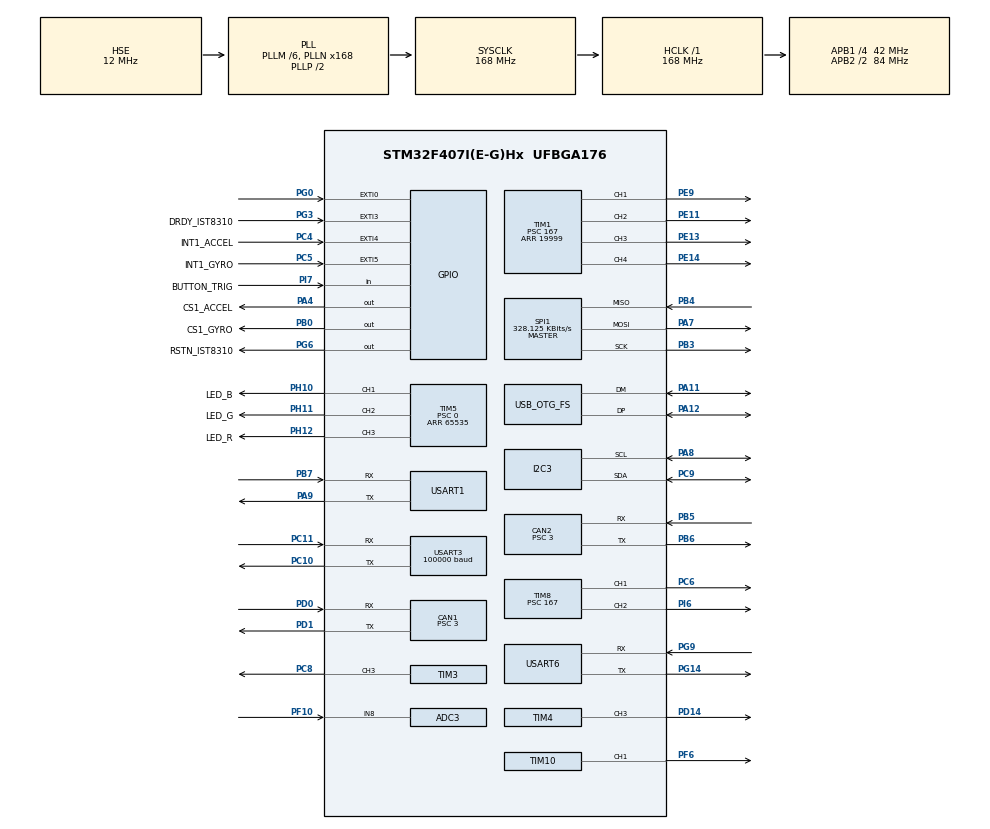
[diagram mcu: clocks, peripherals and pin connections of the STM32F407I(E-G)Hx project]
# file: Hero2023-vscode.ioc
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ADC1.Channel-0\#ChannelRegularConversion=ADC_CHANNEL_TEMPSENSOR
ADC1.NbrOfConversionFlag=1
ADC1.Rank-0\#ChannelRegularConversion=1
ADC1.SamplingTime-0\#ChannelRegularConversion=ADC_SAMPLETIME_3CYCLES
ADC1.master=1
ADC3.Channel-0\#ChannelRegularConversion=ADC_CHANNEL_8
ADC3.NbrOfConversionFlag=1
ADC3.Rank-0\#ChannelRegularConversion=1
ADC3.SamplingTime-0\#ChannelRegularConversion=ADC_SAMPLETIME_3CYCLES
CAN1.ABOM=ENABLE
CAN1.BS1=CAN_BS1_10TQ
CAN1.BS2=CAN_BS2_3TQ
CAN1.CalculateBaudRate=1000000
CAN1.CalculateTimeBit=1000
CAN1.CalculateTimeQuantum=71.42857142857143
CAN1.Prescaler=3
CAN2.ABOM=ENABLE
CAN2.BS1=CAN_BS1_10TQ
CAN2.BS2=CAN_BS2_3TQ
CAN2.CalculateBaudRate=1000000
CAN2.CalculateTimeBit=1000
CAN2.CalculateTimeQuantum=71.42857142857143
CAN2.Prescaler=3
Dma.Request0=SPI1_RX
Dma.Request1=SPI1_TX
Dma.Request2=USART3_RX
Dma.Request3=USART6_RX
Dma.Request4=USART1_RX
Dma.SPI1_RX.0.Direction=DMA_PERIPH_TO_MEMORY
Dma.SPI1_RX.0.FIFOMode=DMA_FIFOMODE_DISABLE
Dma.SPI1_RX.0.Instance=DMA2_Stream2
Dma.SPI1_RX.0.MemDataAlignment=DMA_MDATAALIGN_BYTE
Dma.SPI1_RX.0.MemInc=DMA_MINC_ENABLE
Dma.SPI1_RX.0.Mode=DMA_NORMAL
Dma.SPI1_RX.0.PeriphDataAlignment=DMA_PDATAALIGN_BYTE
Dma.SPI1_RX.0.PeriphInc=DMA_PINC_DISABLE
Dma.SPI1_RX.0.Priority=DMA_PRIORITY_VERY_HIGH
Dma.SPI1_TX.1.Direction=DMA_MEMORY_TO_PERIPH
Dma.SPI1_TX.1.FIFOMode=DMA_FIFOMODE_DISABLE
Dma.SPI1_TX.1.Instance=DMA2_Stream3
Dma.SPI1_TX.1.MemDataAlignment=DMA_MDATAALIGN_BYTE
Dma.SPI1_TX.1.MemInc=DMA_MINC_ENABLE
Dma.SPI1_TX.1.Mode=DMA_NORMAL
Dma.SPI1_TX.1.PeriphDataAlignment=DMA_PDATAALIGN_BYTE
Dma.SPI1_TX.1.PeriphInc=DMA_PINC_DISABLE
Dma.SPI1_TX.1.Priority=DMA_PRIORITY_HIGH
Dma.USART1_RX.4.Direction=DMA_PERIPH_TO_MEMORY
Dma.USART1_RX.4.FIFOMode=DMA_FIFOMODE_DISABLE
Dma.USART1_RX.4.Instance=DMA2_Stream5
Dma.USART1_RX.4.MemDataAlignment=DMA_MDATAALIGN_BYTE
Dma.USART1_RX.4.MemInc=DMA_MINC_ENABLE
Dma.USART1_RX.4.Mode=DMA_CIRCULAR
Dma.USART1_RX.4.PeriphDataAlignment=DMA_PDATAALIGN_BYTE
Dma.USART1_RX.4.PeriphInc=DMA_PINC_DISABLE
Dma.USART1_RX.4.Priority=DMA_PRIORITY_HIGH
Dma.USART3_RX.2.Direction=DMA_PERIPH_TO_MEMORY
Dma.USART3_RX.2.FIFOMode=DMA_FIFOMODE_DISABLE
Dma.USART3_RX.2.Instance=DMA1_Stream1
Dma.USART3_RX.2.MemDataAlignment=DMA_MDATAALIGN_BYTE
Dma.USART3_RX.2.MemInc=DMA_MINC_ENABLE
Dma.USART3_RX.2.Mode=DMA_NORMAL
Dma.USART3_RX.2.PeriphDataAlignment=DMA_PDATAALIGN_BYTE
Dma.USART3_RX.2.PeriphInc=DMA_PINC_DISABLE
Dma.USART3_RX.2.Priority=DMA_PRIORITY_HIGH
Dma.USART6_RX.3.Direction=DMA_PERIPH_TO_MEMORY
Dma.USART6_RX.3.FIFOMode=DMA_FIFOMODE_DISABLE
Dma.USART6_RX.3.Instance=DMA2_Stream1
Dma.USART6_RX.3.MemDataAlignment=DMA_MDATAALIGN_BYTE
Dma.USART6_RX.3.MemInc=DMA_MINC_ENABLE
Dma.USART6_RX.3.Mode=DMA_NORMAL
Dma.USART6_RX.3.PeriphDataAlignment=DMA_PDATAALIGN_BYTE
Dma.USART6_RX.3.PeriphInc=DMA_PINC_DISABLE
Dma.USART6_RX.3.Priority=DMA_PRIORITY_HIGH
FREERTOS.INCLUDE_eTaskGetState=1
FREERTOS.INCLUDE_pcTaskGetTaskName=1
FREERTOS.INCLUDE_uxTaskGetStackHighWaterMark=1
FREERTOS.INCLUDE_vTaskCleanUpResources=1
FREERTOS.INCLUDE_vTaskDelayUntil=1
FREERTOS.INCLUDE_xEventGroupSetBitFromISR=1
FREERTOS.INCLUDE_xQueueGetMutexHolder=1
FREERTOS.INCLUDE_xSemaphoreGetMutexHolder=1
FREERTOS.INCLUDE_xTaskAbortDelay=1
FREERTOS.INCLUDE_xTaskGetCurrentTaskHandle=1
FREERTOS.INCLUDE_xTaskGetHandle=1
FREERTOS.INCLUDE_xTimerPendFunctionCall=1
FREERTOS.Tasks01=idle,-3,128,idle_task,As weak,NULL,Dynamic,NULL,NULL
FREERTOS.configRECORD_STACK_HIGH_ADDRESS=1
FREERTOS.configTOTAL_HEAP_SIZE=24576
I2C3.I2C_Mode=I2C_Fast
Mcu.Family=STM32F4
Mcu.Name=STM32F407I(E-G)Hx
Mcu.Package=UFBGA176
NVIC.CAN1_RX0_IRQn=true\:6\:0\:true\:false\:true\:true\:true\:true
NVIC.CAN1_TX_IRQn=true\:5\:0\:false\:false\:true\:true\:true\:true
NVIC.CAN2_RX0_IRQn=true\:6\:0\:true\:false\:true\:true\:true\:true
NVIC.CAN2_TX_IRQn=true\:5\:0\:false\:false\:true\:true\:true\:true
NVIC.DMA1_Stream1_IRQn=true\:5\:0\:true\:false\:true\:true\:false\:false
NVIC.DMA2_Stream1_IRQn=true\:5\:0\:false\:false\:true\:true\:false\:true
NVIC.DMA2_Stream2_IRQn=true\:5\:0\:true\:false\:false\:true\:false\:true
NVIC.DMA2_Stream3_IRQn=true\:5\:0\:true\:false\:false\:true\:false\:true
NVIC.DMA2_Stream5_IRQn=true\:5\:0\:false\:false\:true\:true\:false\:true
NVIC.EXTI0_IRQn=true\:6\:0\:true\:false\:true\:true\:true\:true
NVIC.EXTI3_IRQn=true\:5\:0\:true\:false\:true\:true\:true\:true
NVIC.EXTI4_IRQn=true\:5\:0\:true\:false\:true\:true\:true\:true
NVIC.EXTI9_5_IRQn=true\:5\:0\:true\:false\:true\:true\:true\:true
NVIC.OTG_FS_IRQn=true\:5\:0\:false\:false\:true\:true\:false\:true
NVIC.PriorityGroup=NVIC_PRIORITYGROUP_4
NVIC.TIM6_DAC_IRQn=true\:0\:0\:false\:false\:true\:false\:false\:true
NVIC.TimeBase=TIM6_DAC_IRQn
NVIC.TimeBaseIP=TIM6
NVIC.USART1_IRQn=true\:5\:0\:false\:false\:true\:true\:true\:true
NVIC.USART3_IRQn=true\:5\:0\:true\:false\:false\:false\:true\:true
NVIC.USART6_IRQn=true\:5\:0\:false\:false\:true\:true\:true\:true
PA11.Mode=Device_Only
PA11.Signal=USB_OTG_FS_DM
PA12.Mode=Device_Only
PA12.Signal=USB_OTG_FS_DP
PA13.Mode=Serial_Wire
PA13.Signal=SYS_JTMS-SWDIO
PA14.Mode=Serial_Wire
PA14.Signal=SYS_JTCK-SWCLK
PA4.GPIO_Label=CS1_ACCEL
PA4.GPIO_PuPd=GPIO_PULLUP
PA4.GPIO_Speed=GPIO_SPEED_FREQ_HIGH
PA4.PinState=GPIO_PIN_SET
PA4.Signal=GPIO_Output
PA7.GPIO_PuPd=GPIO_PULLUP
PA7.Mode=Full_Duplex_Master
PA7.Signal=SPI1_MOSI
PA8.GPIO_Pu=GPIO_PULLUP
PA8.Mode=I2C
PA8.Signal=I2C3_SCL
PA9.Mode=Asynchronous
PA9.Signal=USART1_TX
PB0.GPIO_Label=CS1_GYRO
PB0.GPIO_PuPd=GPIO_PULLUP
PB0.GPIO_Speed=GPIO_SPEED_FREQ_HIGH
PB0.PinState=GPIO_PIN_SET
PB0.Signal=GPIO_Output
PB3.GPIO_PuPd=GPIO_PULLUP
PB3.Mode=Full_Duplex_Master
PB3.Signal=SPI1_SCK
PB4.GPIO_PuPd=GPIO_PULLUP
PB4.Mode=Full_Duplex_Master
PB4.Signal=SPI1_MISO
PB5.Mode=CAN_Activate
PB5.Signal=CAN2_RX
PB6.Mode=CAN_Activate
PB6.Signal=CAN2_TX
PB7.Mode=Asynchronous
PB7.Signal=USART1_RX
PC10.Mode=Asynchronous
PC10.Signal=USART3_TX
PC11.Mode=Asynchronous
PC11.Signal=USART3_RX
PC4.GPIO_Label=INT1_ACCEL
PC4.GPIO_ModeDefaultEXTI=GPIO_MODE_IT_FALLING
PC4.GPIO_PuPd=GPIO_PULLUP
PC4.Signal=GPXTI4
PC5.GPIO_Label=INT1_GYRO
PC5.GPIO_ModeDefaultEXTI=GPIO_MODE_IT_FALLING
PC5.GPIO_PuPd=GPIO_PULLUP
PC5.Signal=GPXTI5
PC6.GPIO_PuPd=GPIO_PULLUP
PC6.GPIO_Speed=GPIO_SPEED_FREQ_HIGH
PC6.Signal=S_TIM8_CH1
PC8.GPIO_PuPd=GPIO_PULLUP
PC8.GPIO_Speed=GPIO_SPEED_FREQ_HIGH
PC8.Signal=S_TIM3_CH3
PC9.GPIO_Pu=GPIO_PULLUP
PC9.Mode=I2C
PC9.Signal=I2C3_SDA
PD0.Mode=CAN_Activate
PD0.Signal=CAN1_RX
PD1.Mode=CAN_Activate
PD1.Signal=CAN1_TX
PD14.GPIO_Speed=GPIO_SPEED_FREQ_HIGH
PD14.Signal=S_TIM4_CH3
PE11.GPIO_PuPd=GPIO_PULLUP
PE11.GPIO_Speed=GPIO_SPEED_FREQ_HIGH
PE11.Signal=S_TIM1_CH2
PE13.GPIO_PuPd=GPIO_PULLUP
PE13.GPIO_Speed=GPIO_SPEED_FREQ_HIGH
PE13.Signal=S_TIM1_CH3
PE14.GPIO_PuPd=GPIO_PULLUP
PE14.GPIO_Speed=GPIO_SPEED_FREQ_HIGH
PE14.Signal=S_TIM1_CH4
PE9.GPIO_PuPd=GPIO_PULLUP
PE9.GPIO_Speed=GPIO_SPEED_FREQ_HIGH
PE9.Signal=S_TIM1_CH1
PF10.Mode=IN8
PF10.Signal=ADC3_IN8
PF6.GPIO_PuPd=GPIO_PULLUP
PF6.GPIO_Speed=GPIO_SPEED_FREQ_HIGH
PF6.Signal=S_TIM10_CH1
PG0.GPIO_ModeDefaultEXTI=GPIO_MODE_IT_FALLING
PG0.GPIO_PuPd=GPIO_PULLUP
PG0.Signal=GPXTI0
PG14.Mode=Asynchronous
PG14.Signal=USART6_TX
PG3.GPIO_Label=DRDY_IST8310
PG3.GPIO_ModeDefaultEXTI=GPIO_MODE_IT_FALLING
PG3.GPIO_PuPd=GPIO_PULLUP
PG3.Signal=GPXTI3
PG6.GPIO_Label=RSTN_IST8310
PG6.GPIO_PuPd=GPIO_PULLUP
PG6.GPIO_Speed=GPIO_SPEED_FREQ_MEDIUM
PG6.PinState=GPIO_PIN_SET
PG6.Signal=GPIO_Output
PG9.Mode=Asynchronous
PG9.Signal=USART6_RX
PH0-OSC_IN.Mode=HSE-External-Oscillator
PH0-OSC_IN.Signal=RCC_OSC_IN
PH1-OSC_OUT.Mode=HSE-External-Oscillator
PH1-OSC_OUT.Signal=RCC_OSC_OUT
PH10.GPIO_Label=LED_B
PH10.GPIO_PuPd=GPIO_PULLUP
PH10.GPIO_Speed=GPIO_SPEED_FREQ_HIGH
PH10.Signal=S_TIM5_CH1
PH11.GPIO_Label=LED_G
PH11.GPIO_PuPd=GPIO_PULLUP
PH11.GPIO_Speed=GPIO_SPEED_FREQ_HIGH
PH11.Signal=S_TIM5_CH2
PH12.GPIO_Label=LED_R
PH12.GPIO_PuPd=GPIO_PULLUP
PH12.GPIO_Speed=GPIO_SPEED_FREQ_HIGH
PH12.Signal=S_TIM5_CH3
PI6.GPIO_PuPd=GPIO_PULLUP
PI6.GPIO_Speed=GPIO_SPEED_FREQ_HIGH
PI6.Signal=S_TIM8_CH2
PI7.GPIO_Label=BUTTON_TRIG
PI7.GPIO_PuPd=GPIO_PULLUP
PI7.Signal=GPIO_Input
ProjectManager.HeapSize=0x2000
ProjectManager.StackSize=0x2000
ProjectManager.TargetToolchain=Makefile
RCC.48MHZClocksFreq_Value=48000000
RCC.AHBFreq_Value=168000000
RCC.APB1CLKDivider=RCC_HCLK_DIV4
RCC.APB1Freq_Value=42000000
RCC.APB1TimFreq_Value=84000000
RCC.APB2CLKDivider=RCC_HCLK_DIV2
RCC.APB2Freq_Value=84000000
RCC.APB2TimFreq_Value=168000000
RCC.CortexFreq_Value=168000000
RCC.HCLKFreq_Value=168000000
RCC.HSE_VALUE=12000000
RCC.HSI_VALUE=16000000
RCC.LSE_VALUE=32768
RCC.PLLM=6
RCC.PLLN=168
RCC.PLLQ=7
RCC.RCC_RTC_Clock_SourceVirtual=RCC_RTCCLKSOURCE_HSE_DIV30
RCC.RCC_RTC_Clock_Source_FROM_HSE=RCC_RTCCLKSOURCE_HSE_DIV30
RCC.SYSCLKFreq_VALUE=168000000
RCC.SYSCLKSource=RCC_SYSCLKSOURCE_PLLCLK
RCC.VCOOutputFreq_Value=336000000
SH.S_TIM10_CH1.0=TIM10_CH1,PWM Generation1 CH1
SH.S_TIM1_CH1.0=TIM1_CH1,PWM Generation1 CH1
SH.S_TIM1_CH2.0=TIM1_CH2,PWM Generation2 CH2
SH.S_TIM1_CH3.0=TIM1_CH3,PWM Generation3 CH3
SH.S_TIM1_CH4.0=TIM1_CH4,PWM Generation4 CH4
SH.S_TIM3_CH3.0=TIM3_CH3,PWM Generation3 CH3
SH.S_TIM4_CH3.0=TIM4_CH3,PWM Generation3 CH3
SH.S_TIM5_CH1.0=TIM5_CH1,PWM Generation1 CH1
SH.S_TIM5_CH2.0=TIM5_CH2,PWM Generation2 CH2
SH.S_TIM5_CH3.0=TIM5_CH3,PWM Generation3 CH3
SH.S_TIM8_CH1.0=TIM8_CH1,PWM Generation1 CH1
SH.S_TIM8_CH2.0=TIM8_CH2,PWM Generation2 CH2
SPI1.BaudRatePrescaler=SPI_BAUDRATEPRESCALER_256
SPI1.CLKPhase=SPI_PHASE_2EDGE
SPI1.CLKPolarity=SPI_POLARITY_HIGH
SPI1.CalculateBaudRate=328.125 KBits/s
SPI1.Direction=SPI_DIRECTION_2LINES
SPI1.Mode=SPI_MODE_MASTER
SPI1.VirtualType=VM_MASTER
TIM1.Channel-PWM\ Generation1\ CH1=TIM_CHANNEL_1
TIM1.Channel-PWM\ Generation2\ CH2=TIM_CHANNEL_2
TIM1.Channel-PWM\ Generation3\ CH3=TIM_CHANNEL_3
TIM1.Channel-PWM\ Generation4\ CH4=TIM_CHANNEL_4
TIM1.Period=19999
TIM1.Prescaler=167
TIM1.Pulse-PWM\ Generation1\ CH1=1000
TIM1.Pulse-PWM\ Generation2\ CH2=1000
TIM1.Pulse-PWM\ Generation3\ CH3=1000
TIM1.Pulse-PWM\ Generation4\ CH4=1000
TIM10.Channel=TIM_CHANNEL_1
TIM10.Period=4999
TIM3.Channel-PWM\ Generation3\ CH3=TIM_CHANNEL_3
TIM3.Period=8399
TIM4.Channel-PWM\ Generation3\ CH3=TIM_CHANNEL_3
TIM4.Period=65535
TIM4.Prescaler=167
TIM4.Pulse-PWM\ Generation3\ CH3=1000
TIM5.Channel-PWM\ Generation1\ CH1=TIM_CHANNEL_1
TIM5.Channel-PWM\ Generation2\ CH2=TIM_CHANNEL_2
TIM5.Channel-PWM\ Generation3\ CH3=TIM_CHANNEL_3
TIM5.Period=65535
TIM5.Prescaler=0
TIM8.Channel-PWM\ Generation1\ CH1=TIM_CHANNEL_1
TIM8.Channel-PWM\ Generation2\ CH2=TIM_CHANNEL_2
TIM8.Period=19999
TIM8.Prescaler=167
TIM8.Pulse-PWM\ Generation1\ CH1=1000
TIM8.Pulse-PWM\ Generation2\ CH2=1000
USART1.VirtualMode=VM_ASYNC
USART3.BaudRate=100000
USART3.Parity=PARITY_EVEN
USART3.VirtualMode=VM_ASYNC
USART6.VirtualMode=VM_ASYNC
USB_DEVICE.CLASS_NAME_FS=CDC
USB_DEVICE.VirtualMode-CDC_FS=Cdc
USB_DEVICE.VirtualModeFS=Cdc_FS
USB_OTG_FS.VirtualMode=Device_Only
VP_ADC1_TempSens_Input.Mode=IN-TempSens
VP_ADC1_Vref_Input.Mode=IN-Vrefint
VP_FREERTOS_VS_CMSIS_V1.Mode=CMSIS_V1
VP_SYS_VS_tim6.Mode=TIM6
VP_TIM10_VS_ClockSourceINT.Mode=Enable_Timer
VP_TIM1_VS_ClockSourceINT.Mode=Internal
VP_TIM3_VS_ClockSourceINT.Mode=Internal
VP_TIM4_VS_ClockSourceINT.Mode=Internal
VP_TIM5_VS_ClockSourceINT.Mode=Internal
VP_TIM8_VS_ClockSourceINT.Mode=Internal
VP_USB_DEVICE_VS_USB_DEVICE_CDC_FS.Mode=CDC_FS
board=custom

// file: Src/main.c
/* USER CODE BEGIN Header */
/**
  ******************************************************************************
  * @file           : main.c
  * @brief          : Main program body
  ******************************************************************************
  * @attention
  *
  * <h2><center>&copy; Copyright (c) 2019 STMicroelectronics.
  * All rights reserved.</center></h2>
  *
  * This software component is licensed by ST under Ultimate Liberty license
  * SLA0044, the "License"; You may not use this file except in compliance with
  * the License. You may obtain a copy of the License at:
  *                             www.st.com/SLA0044
  *
  ******************************************************************************
  */
/* USER CODE END Header */
#include "main.h"
#include "cmsis_os.h"
#include "adc.h"
#include "can.h"
#include "dma.h"
#include "i2c.h"
#include "spi.h"
#include "tim.h"
#include "usart.h"
#include "usb_device.h"
#include "gpio.h"

/* USER CODE BEGIN Includes */
#include "bsp_delay.h"
#include "calibrate_task.h"
#include "detect_task.h"
#include "INS_task.h"
#include "led_flow_task.h"
#include "bsp_can.h"
#include "bsp_usart.h"
#include "bsp_timer.h"
#include "dji_motor.h"
#include "bsp_remote.h"
#include "pid.h"
#include "STMGood.h"

#include "robot.h"

/* USER CODE END Includes */

void SystemClock_Config(void);
void MX_FREERTOS_Init(void);

int main(void)
{

  /* MCU Configuration--------------------------------------------------------*/

  /* Reset of all peripherals, Initializes the Flash interface and the Systick. */
  HAL_Init();

  /* Configure the system clock */
  SystemClock_Config();

  /* Initialize all configured peripherals */
  MX_GPIO_Init();
  MX_DMA_Init();
  MX_CAN1_Init();
  MX_CAN2_Init();
  MX_SPI1_Init();
  MX_TIM4_Init();
  MX_TIM5_Init();
  MX_USART3_UART_Init();
  MX_TIM8_Init();
  MX_I2C3_Init();
  MX_TIM1_Init();
  MX_TIM3_Init();
  MX_TIM10_Init();
  MX_USART1_UART_Init();
  MX_USART6_UART_Init();
  MX_ADC1_Init();
  MX_ADC3_Init();
  /* USER CODE BEGIN 2 */
delay_init();//RM C板例程中延时函数初始
cali_param_init();//RM C板例程中自检结构体初始化
MX_USB_DEVICE_Init();//USB初始化，如果使用了freertos，那么它会在空闲任务中，想要使能USB要拎出来初始化才能用
MY_CAN_Init();//CAN初始�?
MY_USART_Init();//串口初始�?
remote_control_init();//遥控器初始化

HAL_Delay(500);//延时是由于防止can路刚上电，数据不稳定，防止疯�?

RobotInit();

  /* USER CODE END 2 */

  /* Call init function for freertos objects (in freertos.c) */
  MX_FREERTOS_Init();
  /* Start scheduler */
  osKernelStart();

  /* We should never get here as control is now taken by the scheduler */
  /* Infinite loop */
  while (1)
  {

  }
}

void SystemClock_Config(void)
{
  RCC_OscInitTypeDef RCC_OscInitStruct = {0};
  RCC_ClkInitTypeDef RCC_ClkInitStruct = {0};

  /** Configure the main internal regulator output voltage
  */
  __HAL_RCC_PWR_CLK_ENABLE();
  __HAL_PWR_VOLTAGESCALING_CONFIG(PWR_REGULATOR_VOLTAGE_SCALE1);
  /** Initializes the RCC Oscillators according to the specified parameters
  * in the RCC_OscInitTypeDef structure.
  */
  RCC_OscInitStruct.OscillatorType = RCC_OSCILLATORTYPE_HSE;
  RCC_OscInitStruct.HSEState = RCC_HSE_ON;
  RCC_OscInitStruct.PLL.PLLState = RCC_PLL_ON;
  RCC_OscInitStruct.PLL.PLLSource = RCC_PLLSOURCE_HSE;
  RCC_OscInitStruct.PLL.PLLM = 6;
  RCC_OscInitStruct.PLL.PLLN = 168;
  RCC_OscInitStruct.PLL.PLLP = RCC_PLLP_DIV2;
  RCC_OscInitStruct.PLL.PLLQ = 7;
  if (HAL_RCC_OscConfig(&RCC_OscInitStruct) != HAL_OK)
  {
    Error_Handler();
  }
  /** Initializes the CPU, AHB and APB buses clocks
  */
  RCC_ClkInitStruct.ClockType = RCC_CLOCKTYPE_HCLK|RCC_CLOCKTYPE_SYSCLK
                              |RCC_CLOCKTYPE_PCLK1|RCC_CLOCKTYPE_PCLK2;
  RCC_ClkInitStruct.SYSCLKSource = RCC_SYSCLKSOURCE_PLLCLK;
  RCC_ClkInitStruct.AHBCLKDivider = RCC_SYSCLK_DIV1;
  RCC_ClkInitStruct.APB1CLKDivider = RCC_HCLK_DIV4;
  RCC_ClkInitStruct.APB2CLKDivider = RCC_HCLK_DIV2;

  if (HAL_RCC_ClockConfig(&RCC_ClkInitStruct, FLASH_LATENCY_5) != HAL_OK)
  {
    Error_Handler();
  }
}

void HAL_TIM_PeriodElapsedCallback(TIM_HandleTypeDef *htim)
{
  if (htim->Instance == TIM6) {
    HAL_IncTick();
  }
}

void Error_Handler(void)
{
}

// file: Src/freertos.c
/* USER CODE BEGIN Header */
/**
  ******************************************************************************
  * File Name          : freertos.c
  * Description        : Code for freertos applications
  ******************************************************************************
  * @attention
  *
  * <h2><center>&copy; Copyright (c) 2019 STMicroelectronics.
  * All rights reserved.</center></h2>
  *
  * This software component is licensed by ST under Ultimate Liberty license
  * SLA0044, the "License"; You may not use this file except in compliance with
  * the License. You may obtain a copy of the License at:
  *                             www.st.com/SLA0044
  *
  ******************************************************************************
  */
/* USER CODE END Header */

#include "FreeRTOS.h"
#include "task.h"
#include "main.h"
#include "cmsis_os.h"

/* USER CODE BEGIN Includes */

#include "calibrate_task.h"
#include "detect_task.h"
#include "INS_task.h"
#include "led_flow_task.h"
#include "adc_task.h"
#include "robot.h"

/* USER CODE END Includes */

/* USER CODE BEGIN PTD */

osThreadId calibrate_tast_handle;
osThreadId detect_handle;
osThreadId imuTaskHandle;
osThreadId led_RGB_flow_handle;
osThreadId adc_handle;

/* USER CODE END PTD */

osThreadId idleHandle;

void idle_task(void const * argument);

extern void MX_USB_DEVICE_Init(void);
void MX_FREERTOS_Init(void); /* (MISRA C 2004 rule 8.1) */

/* GetIdleTaskMemory prototype (linked to static allocation support) */
void vApplicationGetIdleTaskMemory( StaticTask_t **ppxIdleTaskTCBBuffer, StackType_t **ppxIdleTaskStackBuffer, uint32_t *pulIdleTaskStackSize );

/* GetTimerTaskMemory prototype (linked to static allocation support) */
void vApplicationGetTimerTaskMemory( StaticTask_t **ppxTimerTaskTCBBuffer, StackType_t **ppxTimerTaskStackBuffer, uint32_t *pulTimerTaskStackSize );

/* USER CODE BEGIN GET_IDLE_TASK_MEMORY */
static StaticTask_t xIdleTaskTCBBuffer;
static StackType_t xIdleStack[configMINIMAL_STACK_SIZE];

void vApplicationGetIdleTaskMemory( StaticTask_t **ppxIdleTaskTCBBuffer, StackType_t **ppxIdleTaskStackBuffer, uint32_t *pulIdleTaskStackSize )
{
  *ppxIdleTaskTCBBuffer = &xIdleTaskTCBBuffer;
  *ppxIdleTaskStackBuffer = &xIdleStack[0];
  *pulIdleTaskStackSize = configMINIMAL_STACK_SIZE;
  /* place for user code */
}
/* USER CODE END GET_IDLE_TASK_MEMORY */

/* USER CODE BEGIN GET_TIMER_TASK_MEMORY */
static StaticTask_t xTimerTaskTCBBuffer;
static StackType_t xTimerStack[configTIMER_TASK_STACK_DEPTH];

void vApplicationGetTimerTaskMemory( StaticTask_t **ppxTimerTaskTCBBuffer, StackType_t **ppxTimerTaskStackBuffer, uint32_t *pulTimerTaskStackSize )
{
  *ppxTimerTaskTCBBuffer = &xTimerTaskTCBBuffer;
  *ppxTimerTaskStackBuffer = &xTimerStack[0];
  *pulTimerTaskStackSize = configTIMER_TASK_STACK_DEPTH;
  /* place for user code */
}
/* USER CODE END GET_TIMER_TASK_MEMORY */

void MX_FREERTOS_Init(void) {

  /* Create the thread(s) */
  /* definition and creation of idle */
  osThreadDef(idle, idle_task, osPriorityIdle, 0, 128);
  idleHandle = osThreadCreate(osThread(idle), NULL);

  /* USER CODE BEGIN RTOS_THREADS */
  /* add threads, ... */
    osThreadDef(cali, calibrate_task, osPriorityLow, 0, 512);
    calibrate_tast_handle = osThreadCreate(osThread(cali), NULL);

    osThreadDef(detect, detect_task, osPriorityLow, 0, 256);
    detect_handle = osThreadCreate(osThread(detect), NULL);

    osThreadDef(imu, INS_task, osPriorityRealtime, 0, 1024);
    imuTaskHandle = osThreadCreate(osThread(imu), NULL);

    osThreadDef(led, led_RGB_flow_task, osPriorityLow, 0, 128);
    led_RGB_flow_handle = osThreadCreate(osThread(led), NULL);

    osThreadDef(adc, adc_task, osPriorityLow, 0, 128);
    adc_handle = osThreadCreate(osThread(adc), NULL);

    RobotTaskInit();
  /* USER CODE END RTOS_THREADS */

}

__weak void idle_task(void const * argument)
{
  /* init code for USB_DEVICE */
  MX_USB_DEVICE_Init();
  for(;;)
  {
    osDelay(1);
  }
}
